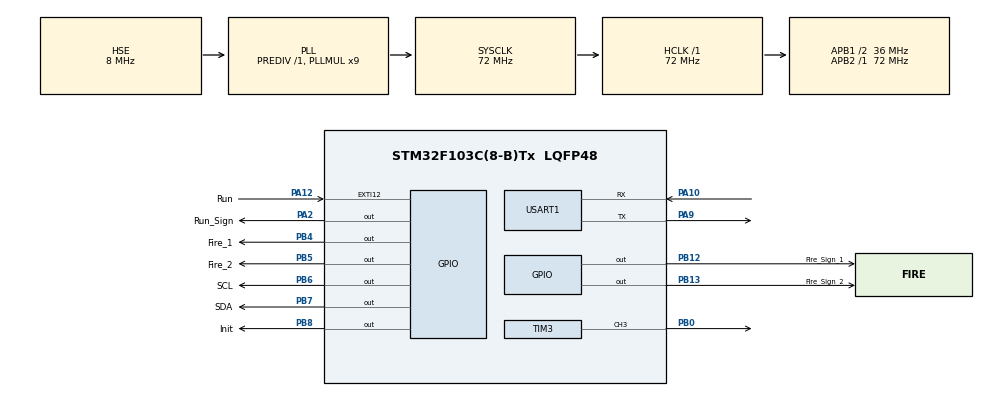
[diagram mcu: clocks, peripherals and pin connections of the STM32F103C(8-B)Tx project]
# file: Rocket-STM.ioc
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Mcu.Family=STM32F1
Mcu.Name=STM32F103C(8-B)Tx
Mcu.Package=LQFP48
NVIC.EXTI15_10_IRQn=true\:0\:0\:false\:false\:true\:true\:true\:true
NVIC.PriorityGroup=NVIC_PRIORITYGROUP_2
NVIC.TIM2_IRQn=true\:2\:1\:true\:false\:true\:true\:true\:true
NVIC.TIM3_IRQn=true\:3\:2\:true\:false\:true\:true\:true\:true
PA10.Mode=Asynchronous
PA10.Signal=USART1_RX
PA12.GPIO_Label=Run
PA12.GPIO_ModeDefaultEXTI=GPIO_MODE_IT_FALLING
PA12.GPIO_PuPd=GPIO_PULLDOWN
PA12.Signal=GPXTI12
PA13.Mode=Serial_Wire
PA13.Signal=SYS_JTMS-SWDIO
PA14.Mode=Serial_Wire
PA14.Signal=SYS_JTCK-SWCLK
PA2.GPIO_Label=Run_Sign
PA2.PinState=GPIO_PIN_SET
PA2.Signal=GPIO_Output
PA9.Mode=Asynchronous
PA9.Signal=USART1_TX
PB0.Signal=S_TIM3_CH3
PB12.GPIO_Label=Fire_Sign_1
PB12.PinState=GPIO_PIN_SET
PB12.Signal=GPIO_Output
PB13.GPIO_Label=Fire_Sign_2
PB13.PinState=GPIO_PIN_SET
PB13.Signal=GPIO_Output
PB4.GPIO_Label=Fire_1
PB4.Signal=GPIO_Output
PB5.GPIO_Label=Fire_2
PB5.Signal=GPIO_Output
PB6.GPIO_Label=SCL
PB6.GPIO_Speed=GPIO_SPEED_FREQ_HIGH
PB6.PinState=GPIO_PIN_RESET
PB6.Signal=GPIO_Output
PB7.GPIO_Label=SDA
PB7.GPIO_Speed=GPIO_SPEED_FREQ_HIGH
PB7.PinState=GPIO_PIN_RESET
PB7.Signal=GPIO_Output
PB8.GPIO_Label=Init
PB8.PinState=GPIO_PIN_SET
PB8.Signal=GPIO_Output
PD0-OSC_IN.Mode=HSE-External-Oscillator
PD0-OSC_IN.Signal=RCC_OSC_IN
PD1-OSC_OUT.Mode=HSE-External-Oscillator
PD1-OSC_OUT.Signal=RCC_OSC_OUT
ProjectManager.HeapSize=0x200
ProjectManager.StackSize=0x400
ProjectManager.TargetToolchain=Makefile
RCC.AHBFreq_Value=72000000
RCC.APB1CLKDivider=RCC_HCLK_DIV2
RCC.APB1Freq_Value=36000000
RCC.APB1TimFreq_Value=72000000
RCC.APB2Freq_Value=72000000
RCC.APB2TimFreq_Value=72000000
RCC.HCLKFreq_Value=72000000
RCC.PLLMUL=RCC_PLL_MUL9
RCC.PLLSourceVirtual=RCC_PLLSOURCE_HSE
RCC.SYSCLKFreq_VALUE=72000000
RCC.SYSCLKSource=RCC_SYSCLKSOURCE_PLLCLK
RCC.USBFreq_Value=72000000
SH.S_TIM3_CH3.0=TIM3_CH3,PWM Generation3 CH3
TIM2.Period=1799
TIM2.Prescaler=1999
TIM3.Channel-PWM\ Generation3\ CH3=TIM_CHANNEL_3
TIM3.Period=1799
TIM3.Prescaler=1999
USART1.VirtualMode=VM_ASYNC
VP_TIM1_VS_ClockSourceINT.Mode=Internal
VP_TIM2_VS_ClockSourceINT.Mode=Internal
VP_TIM3_VS_ClockSourceINT.Mode=Internal
board=custom

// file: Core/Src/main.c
/* USER CODE BEGIN Header */
/**
 ******************************************************************************
 * @file           : main.c
 * @brief          : Main program body
 *******************************	***********************************************
 * @attention
 *
 * Copyright (c) 2022 STMicroelectronics.
 * All rights reserved.
 *
 * This software is licensed under terms that can be found in the LICENSE file
 * in the root directory of this software component.
 * If no LICENSE file comes with this software, it is provided AS-IS.
 *
 ******************************************************************************
 */
/* USER CODE END Header */
#include "main.h"
#include "tim.h"
#include "usart.h"
#include "gpio.h"

/* USER CODE BEGIN Includes */
#include "Include.h"
/* USER CODE END Includes */

void SystemClock_Config(void);

/* USER CODE BEGIN 0 */
//////////////////////////////////////////////////////////////////
//				串口调用打印数据需要这段代码						//
//////////////////////////////////////////////////////////////////
#if 1
#pragma import(__use_no_semihosting)

struct __FILE {
    int handle;
};

FILE __stdout;

void _sys_exit(int x) {
    x = x;
}

int fputc(int ch, FILE *f) {
    while ((USART1->SR & 0X40) == 0)
        ;  //????,??????
    USART1->DR = (uint8_t)ch;
	//HAL_UART_Transmit(&huart1, (uint8_t *)ch, 1, HAL_MAX_DELAY);
    return ch;
}
#endif
//////////////////////////////////////////////////////////////////
//////////////////////////////////////////////////////////////////
/* USER CODE END 0 */

int main(void)
{
  /* USER CODE BEGIN 1 */
    int t = 0;

    float h = 0;
    delay_init(72);  // 延时函数初始化
  /* USER CODE END 1 */

  /* MCU Configuration--------------------------------------------------------*/

  /* Reset of all peripherals, Initializes the Flash interface and the Systick. */
  HAL_Init();

  /* Configure the system clock */
  SystemClock_Config();

  /* Initialize all configured peripherals */
  MX_GPIO_Init();
  MX_TIM2_Init();
  MX_TIM1_Init();
  MX_USART1_UART_Init();
  MX_TIM3_Init();
  /* USER CODE BEGIN 2 */
    __HAL_TIM_CLEAR_IT(&htim2, TIM_IT_UPDATE);
    HAL_TIM_Base_Start_IT(&htim2);

    HAL_TIM_PWM_Start(&htim3, TIM_CHANNEL_3);  // 开启TIM3_CH3上的PWM通道

    __HAL_TIM_SET_COMPARE(&htim3, TIM_CHANNEL_3, SERVO(0));  // 设置初始角度几乎为0，18对应0°，90对应180°，数值每增加18，角度增加45°

    MS561101BA_RESET();
    MS5611_init();

    for (t = 0; t < 300; t++) {
        MS561101BA_GetTemperature();
        MS561101BA_getPressure();
        if (t >= 100) {
            h = Get_High();
            H0 += h;
        }
    }
    H0 /= 200;
	HAL_GPIO_WritePin(Init_GPIO_Port, Init_Pin, GPIO_PIN_RESET);
    //	printf("H0=%.4f\r\n",H0);

    __HAL_TIM_CLEAR_IT(&htim3, TIM_IT_UPDATE);
    HAL_TIM_Base_Start_IT(&htim3);

  /* USER CODE END 2 */

  /* Infinite loop */
    while (1) {

    }
}

void SystemClock_Config(void)
{
  RCC_OscInitTypeDef RCC_OscInitStruct = {0};
  RCC_ClkInitTypeDef RCC_ClkInitStruct = {0};

  /** Initializes the RCC Oscillators according to the specified parameters
  * in the RCC_OscInitTypeDef structure.
  */
  RCC_OscInitStruct.OscillatorType = RCC_OSCILLATORTYPE_HSE;
  RCC_OscInitStruct.HSEState = RCC_HSE_ON;
  RCC_OscInitStruct.HSEPredivValue = RCC_HSE_PREDIV_DIV1;
  RCC_OscInitStruct.HSIState = RCC_HSI_ON;
  RCC_OscInitStruct.PLL.PLLState = RCC_PLL_ON;
  RCC_OscInitStruct.PLL.PLLSource = RCC_PLLSOURCE_HSE;
  RCC_OscInitStruct.PLL.PLLMUL = RCC_PLL_MUL9;
  if (HAL_RCC_OscConfig(&RCC_OscInitStruct) != HAL_OK)
  {
    Error_Handler();
  }

  /** Initializes the CPU, AHB and APB buses clocks
  */
  RCC_ClkInitStruct.ClockType = RCC_CLOCKTYPE_HCLK|RCC_CLOCKTYPE_SYSCLK
                              |RCC_CLOCKTYPE_PCLK1|RCC_CLOCKTYPE_PCLK2;
  RCC_ClkInitStruct.SYSCLKSource = RCC_SYSCLKSOURCE_PLLCLK;
  RCC_ClkInitStruct.AHBCLKDivider = RCC_SYSCLK_DIV1;
  RCC_ClkInitStruct.APB1CLKDivider = RCC_HCLK_DIV2;
  RCC_ClkInitStruct.APB2CLKDivider = RCC_HCLK_DIV1;

  if (HAL_RCC_ClockConfig(&RCC_ClkInitStruct, FLASH_LATENCY_2) != HAL_OK)
  {
    Error_Handler();
  }
}

/* USER CODE BEGIN 4 */
/**
  * @brief  EXTI line detection callbacks.
  * @param  GPIO_Pin: Specifies the pins connected EXTI line
  * @retval None
  * @note	All the GPIO EXTI_IRQHandler will call this function only, so it`s n
            essesary to judge which Pin touch off the EXTI interrupt.
  */
void HAL_GPIO_EXTI_Callback(uint16_t GPIO_Pin) {
    if (GPIO_Pin == Run_Pin) {
        EXTI_Interrupt();
    }
}

void HAL_TIM_PeriodElapsedCallback(TIM_HandleTypeDef *htim) {
    if (htim->Instance == TIM3) {
        TransmitHeight_Interrupt();
    }

    if (htim->Instance == TIM2) {
        TimeControl_Interrupt();
    }
}
/* USER CODE END 4 */

void Error_Handler(void)
{
    __disable_irq();
    while (1) {
    }
}
